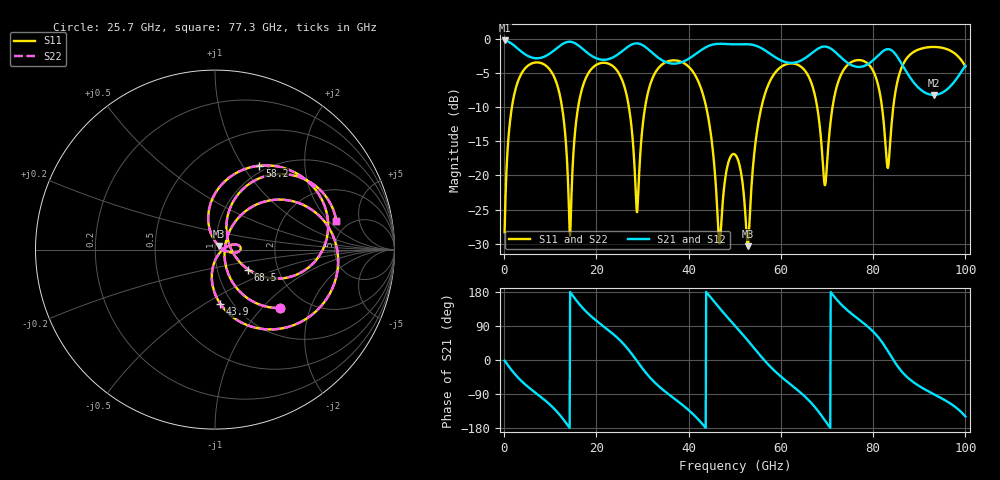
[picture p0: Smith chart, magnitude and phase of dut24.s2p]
! Touchstone file exported from HFSS 2026.1.0
!  File:  C:/ffzhzh/LocalFiles/Ansys_Project_Files/temp_train_TSV_RDL_24_1783439537_28540.aedt
!  Generated:  12:28:51 AM Jul  8, 2026
!  Design:  TSV_RDL
!  Project:  temp_train_TSV_RDL_24_1783439537_28540
! Variables:
!  h_bsmrdl = 2.73um
!  h_ox = 20um
!  h_rdl = 5um
!  h_sub = 63.64um
!  h_tmrdl = 3.8um
!  h_tsv = 63.64um
!  h_via = 3um
!  l_bsmrdl = 696.46um
!  l_sub = 4416.68um
!  l_tmrdl = 459.31um
!  m_sub = 200um
!  pitch = 51.29um
!  r_tsv = 6.51um
!  s_tmrdl = 10um
!  w_bsmrdl = 12.43um
!  w_sub = 500um
!  w_tmrdl = 17.59um
!  x_tsv_center1 = 468.105um
!  x_tsv_center2 = 1176.995um
!  x_tsv_center3 = 1653.895um
!  x_tsv_center4 = 2362.785um
!  x_tsv_center5 = 2839.685um
!  x_tsv_center6 = 3548.575um
# GHz S MA R 50.000000
! Terminal data exported
! Port[1] = TM_RDL1_1_T1
! Port[2] = TM_RDL5_1_T1
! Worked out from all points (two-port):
!   1000 points, 100 MHz to 100 GHz, reference 50 ohm
!   highest |S21| = -0.29 dB at 100 MHz (marker M1); lowest = -8.3 dB at 93.1 GHz (marker M2)
!   |S21| within 3 dB of the highest: start of sweep to 34.55 GHz; 39.12 GHz to 60.32 GHz (21.2 GHz wide, 42.6 % of centre) (the widest 2 of 4)
!   lowest |S11| = -30.3 dB at 52.8 GHz (marker M3), VSWR 1.06, Z = 52.2 + j2.19 ohm
!   |S11| at or under -10 dB: 12.54 GHz to 16.05 GHz (3.504 GHz wide, 24.5 % of centre); 27.04 GHz to 30.57 GHz (3.522 GHz wide, 12.2 % of centre); 43.79 GHz to 55.79 GHz (12 GHz wide, 24.1 % of centre) (the widest 3 of 6)
!   |S22| runs from -30.4 to -1.2 dB; largest |S21 - S12| = 6.1e-13
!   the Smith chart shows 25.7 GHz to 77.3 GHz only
!   S11 on the Smith chart (normalised r, x): 25.7 GHz: 1.48, -1.26; 43.9 GHz: 0.88, -0.59; 58.2 GHz: 0.92, +1.19; 68.5 GHz: 1.41, -0.33; 77.3 GHz: 4.00, +2.42
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0.1  0.03843 31.4  0.9676 -1.8  0.9676 -1.8  0.03843 31.4
! Gamma 0 0 0 0
! Port Impedance 50 0 50 0
2.8  0.4653 42.3  0.8519 -43.6  0.8519 -43.6  0.4653 42.3
10  0.5861 -28.5  0.7805 -118.6  0.7805 -118.6  0.5861 -28.5
14.3  0.03628 4.9  0.947 179.2  0.947 179.2  0.0362 4.9
16.8  0.4186 45.0  0.852 140.3  0.852 140.3  0.4186 45.1
25.7  0.4851 -42.2  0.8139 44.7  0.8139 44.7  0.4851 -42.2
28.8  0.05383 -5.0  0.9214 -2.6  0.9214 -2.6  0.05396 -5.0
33.4  0.6052 18.9  0.7246 -67.8  0.7246 -67.8  0.6052 18.9
43.9  0.3045 -84.3  0.8689 178.2  0.8689 178.2  0.3045 -84.4
46.7  0.03188 -38.2  0.9149 137.0  0.9149 137.0  0.0317 -38.2
50.1  0.1414 -0.2  0.9062 89.7  0.9062 89.7  0.1414 -0.2
52.8  0.03039 43.6  0.9081 51.9  0.9081 51.9  0.03014 43.5
58.2  0.529 62.1  0.7518 -23.5  0.7518 -23.5  0.5289 62.1
66.7  0.4639 -18.2  0.7812 -114.8  0.7812 -114.8  0.464 -18.2
68.5  0.2164 -31.0  0.8585 -141.8  0.8585 -141.8  0.2166 -30.9
69.7  0.089 35.8  0.8729 -162.1  0.8729 -162.1  0.08947 35.7
72.7  0.5114 54.1  0.7453 151.3  0.7453 151.3  0.5114 54.0
77.3  0.694 13.1  0.6209 103.2  0.6209 103.2  0.6941 13.1
83.4  0.1269 41.1  0.8353 19.5  0.8353 19.5  0.127 41.0
86.6  0.6585 45.3  0.6185 -35.7  0.6185 -35.7  0.6584 45.3
93.1  0.8676 0.2  0.3867 -89.9  0.3867 -89.9  0.8676 0.2
100  0.6239 -49.6  0.633 -149.2  0.633 -149.2  0.6238 -49.7
